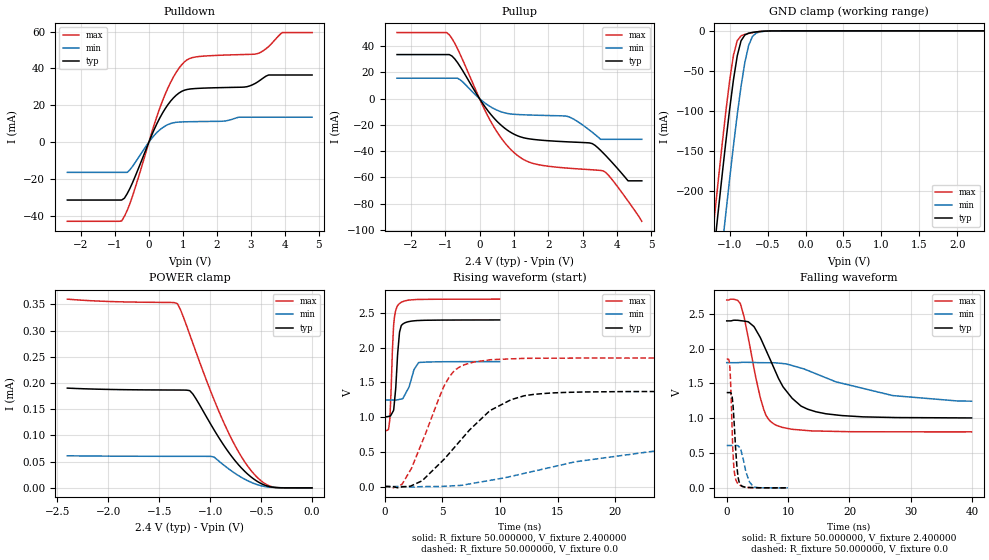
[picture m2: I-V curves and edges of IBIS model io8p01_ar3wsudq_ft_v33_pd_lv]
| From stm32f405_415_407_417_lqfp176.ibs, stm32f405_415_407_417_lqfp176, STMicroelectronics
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|   Model io8p01_ar3wsudq_ft_v33_pd_lv
[Model]  io8p01_ar3wsudq_ft_v33_pd_lv
Model_type I/O
Polarity   Non-Inverting
Enable   Active-Low
Vinl =   0.720000V
Vinh =   1.680000V
Vmeas =  1.200000V
Cref =   50.000000pF
Rref =   100.000000M
Vref =   0.0V
C_comp   3.737900pF   3.690400pF   3.817400pF
[Temperature Range]   25.000000   0.125000k   -40.000000
[Pullup Reference]   2.400000V   1.800000V   2.700000V
[Pulldown Reference]   0.0V   0.0V   0.0V
[POWER Clamp Reference]   2.400000V   1.800000V   2.700000V
[GND Clamp Reference]   0.0V   0.0V   0.0V
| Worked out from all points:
|   slope of the pulldown table from 0 to 0.36 V, typ, clamps not added: 25 ohm
|   slope of the pullup table from 0 to 0.36 V, typ, clamps not added: 27.7 ohm
|   GND clamp passes 1 mA (typ) near -0.62 V on its own axis
|   rising waveform, R_fixture 50.000000, V_fixture 2.400000: 20-80 % time 349ps typ, 698ps min, 272ps max; typ from 1 V to 2.4 V
|   rising waveform, R_fixture 50.000000, V_fixture 0.0: 20-80 % time 4.73ns typ, 12.1ns min, 2.67ns max; typ from 0 V to 1.37 V
|   falling waveform, R_fixture 50.000000, V_fixture 2.400000: 20-80 % time 5.02ns typ, 12.5ns min, 2.7ns max; typ from 2.4 V to 1 V
|   falling waveform, R_fixture 50.000000, V_fixture 0.0: 20-80 % time 599ps typ, 1.08ns min, 461ps max; typ from 1.37 V to 0 V
[Pulldown]
|Voltage   I(typ)   I(min)   I(max)
-2.4V     -31.47mA   -16.45mA   -43.01mA
-800mV    -31.47mA   -16.45mA   -42.85mA
-480mV    -21.98mA   -13.17mA   -29.2mA
80mV      3.63mA     1.966mA    5.014mA
480mV     18.15mA    8.738mA    26.02mA
800mV     25.38mA    10.72mA    37.77mA
1.12V     28.53mA    11.02mA    44.6mA
2.8V      29.84mA    13.49mA    47.53mA
3.2V      32.65mA    13.49mA    48.04mA
3.52V     36.4mA     13.49mA    51.82mA
3.92V     36.4mA     13.49mA    59.44mA
4.8V      36.4mA     13.49mA    59.44mA
[Pullup]
|Voltage   I(typ)   I(min)   I(max)
-2.4V     33.56mA    15.57mA    50.33mA
-960mV    33.56mA    15.57mA    50.33mA
-800mV    32.44mA    15.57mA    45.78mA
-560mV    24.28mA    14.31mA    33.53mA
320mV     -11.75mA   -6.207mA   -17.08mA
960mV     -26.47mA   -11.82mA   -40.02mA
1.52V     -30.88mA   -12.51mA   -49.05mA
2.56V     -32.88mA   -13.52mA   -52.9mA
3.28V     -34.25mA   -25.62mA   -54.18mA
3.6V      -41.44mA   -30.96mA   -55.03mA
4.32V     -62.58mA   -30.96mA   -77.98mA
4.72V     -62.58mA   -30.96mA   -93.4mA
[GND_clamp]
|Voltage   I(typ)   I(min)   I(max)
-2.4V     -1.437A    -1.518A    -1.41A
-1.25V    -315.9mA   -407.2mA   -278.2mA
-1.2V     -270.1mA   -361.3mA   -232.1mA
-1.15V    -225mA     -316mA     -186.8mA
-1.1V     -180.9mA   -271.3mA   -142.7mA
-1.05V    -138.2mA   -227.5mA   -100.5mA
-950mV    -61.14mA   -143.6mA   -30.44mA
-900mV    -31.24mA   -104.7mA   -12.15mA
-850mV    -12.5mA    -69.41mA   -6.236mA
-750mV    -2.91mA    -18.35mA   -3.195mA
-600mV    -761.5uA   -1.227mA   -751.9uA
2.35V     58.09uA    37.93uA    67.25uA
[POWER_clamp]
|Voltage   I(typ)   I(min)   I(max)
-2.4V     190.2uA    61.19uA    359.9uA
-1.32V    186.6uA    60.14uA    351.2uA
-1.29V    186.5uA    60.13uA    339.6uA
-1.2V     185.4uA    60.11uA    292.6uA
-1.17V    179.2uA    60.11uA    276.3uA
-960mV    110.2uA    58.62uA    167.5uA
-870mV    82.44uA    43.99uA    126.3uA
-750mV    50.58uA    26.92uA    78.64uA
-630mV    25.94uA    13.41uA    41.02uA
-510mV    9.22uA     4.527uA    14.97uA
-420mV    2.425uA    1.38uA     3.75uA
0V        0A         0A         0A
[Ramp]
| variable   typ   min   max
dV/dt_r  0.82158/4.72959n   0.38163/12.88267n   1.11054/2.67180n
dV/dt_f  0.83682/5.02733n   0.32214/12.54954n   1.13792/2.70520n
R_load = 50.000000
[Rising Waveform]
R_fixture= 50.000000
V_fixture= 2.400000
V_fixture_min= 1.800000
V_fixture_max= 2.700000
|time   V(typ)   V(min)   V(max)
0s        1.005V     1.245V     804.5mV
320.3ps   1.009V     1.245V     821.1mV
440.4ps   1.014V     1.245V     967.3mV
660.7ps   1.065V     1.245V     1.956V
760.8ps   1.094V     1.245V     2.303V
961ps     1.441V     1.245V     2.541V
1.201ns   2.073V     1.252V     2.624V
1.441ns   2.32V      1.261V     2.654V
2.943ns   2.391V     1.786V     2.695V
9.97ns    2.399V     1.799V     2.699V
[Rising Waveform]
R_fixture= 50.000000
V_fixture= 0.0
V_fixture_min= 0.0
V_fixture_max= 0.0
|time   V(typ)   V(min)   V(max)
0s        87.36uV    36.22uV    196.7uV
1.522ns   -4.899mV   -560.6uV   38.31mV
3.283ns   88.55mV    -884.9uV   656.5mV
5.526ns   463.4mV    6.763mV    1.557V
6.326ns   616.6mV    13.38mV    1.703V
7.688ns   865.9mV    46.6mV     1.791V
10.89ns   1.244V     143.3mV    1.838V
13.21ns   1.331V     230.7mV    1.847V
25.23ns   1.368V     550.7mV    1.85V
39.88ns   1.369V     608.5mV    1.85V
[Falling Waveform]
R_fixture= 50.000000
V_fixture= 2.400000
V_fixture_min= 1.800000
V_fixture_max= 2.700000
|time   V(typ)   V(min)   V(max)
0s        2.399V     1.799V     2.699V
2.242ns   2.402V     1.801V     2.642V
4.404ns   2.32V      1.802V     1.734V
5.526ns   2.149V     1.799V     1.278V
6.486ns   1.961V     1.798V     1.029V
7.848ns   1.69V      1.797V     909.8mV
10.65ns   1.288V     1.757V     841.6mV
14.57ns   1.092V     1.638V     817.2mV
27.07ns   1.011V     1.326V     805.4mV
39.88ns   1.005V     1.245V     804.5mV
[Falling Waveform]
R_fixture= 50.000000
V_fixture= 0.0
V_fixture_min= 0.0
V_fixture_max= 0.0
|time   V(typ)   V(min)   V(max)
0s        1.369V     608.5mV    1.85V
460.5ps   1.37V      608.4mV    1.795V
660.7ps   1.366V     608.3mV    1.448V
860.9ps   1.327V     608.1mV    891.7mV
1.161ns   1.004V     607.9mV    300mV
1.602ns   374.7mV    607.9mV    91.22mV
2.222ns   47.23mV    567.1mV    34.18mV
3.143ns   9.028mV    223.5mV    10.92mV
4.364ns   3.143mV    13.36mV    3.352mV
9.97ns    87.36uV    36.22uV    196.7uV
